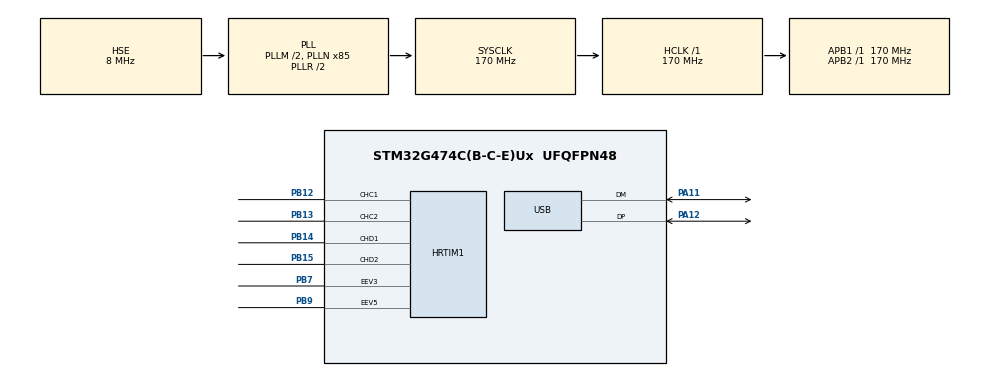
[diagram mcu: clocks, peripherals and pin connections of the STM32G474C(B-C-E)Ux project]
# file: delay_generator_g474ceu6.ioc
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HRTIM1.CompareUnit1-Output_TC1TC2=HRTIM_COMPAREUNIT_1
HRTIM1.CompareUnit1-Output_TD1TD2=HRTIM_COMPAREUNIT_1
HRTIM1.CompareUnit2-Output_TC1TC2=HRTIM_COMPAREUNIT_2
HRTIM1.CompareUnit2-Output_TD1TD2=HRTIM_COMPAREUNIT_2
HRTIM1.CompareUnit3-Output_TC1TC2=HRTIM_COMPAREUNIT_3
HRTIM1.CompareUnit3-Output_TD1TD2=HRTIM_COMPAREUNIT_3
HRTIM1.CompareUnit4-Output_TC1TC2=HRTIM_COMPAREUNIT_4
HRTIM1.CompareUnit4-Output_TD1TD2=HRTIM_COMPAREUNIT_4
HRTIM1.CompareValue1-Output_TC1TC2=2720
HRTIM1.CompareValue1-Output_TD1TD2=5440
HRTIM1.CompareValue2-Output_TC1TC2=5440
HRTIM1.CompareValue2-Output_TD1TD2=8160
HRTIM1.CompareValue3-Output_TC1TC2=8160
HRTIM1.CompareValue3-Output_TD1TD2=13600
HRTIM1.CompareValue4-Output_TC1TC2=10880
HRTIM1.CompareValue4-Output_TD1TD2=16320
HRTIM1.Event_EEV1=__NULL
HRTIM1.Event_EEV3=HRTIM_EVENT_3
HRTIM1.ModeTimeBase-Output_TC1TC2=HRTIM_MODE_SINGLESHOT_RETRIGGERABLE
HRTIM1.ModeTimeBase-Output_TD1TD2=HRTIM_MODE_SINGLESHOT_RETRIGGERABLE
HRTIM1.NumberResetSource1-Output_TC1TC2=1
HRTIM1.NumberResetSource1-Output_TD1TD2=1
HRTIM1.NumberResetSource2_TC=1
HRTIM1.NumberResetSource2_TD=1
HRTIM1.NumberResetTrigger-Output_TC1TC2=1
HRTIM1.NumberResetTrigger-Output_TD1TD2=1
HRTIM1.NumberSetSource1-Output_TC1TC2=1
HRTIM1.NumberSetSource1-Output_TD1TD2=1
HRTIM1.NumberSetSource2_TC=1
HRTIM1.NumberSetSource2_TD=1
HRTIM1.Periode_TC=11424
HRTIM1.Periode_TD=16864
HRTIM1.ResetOutput1_Source1-Output_TC1TC2=HRTIM_OUTPUTRESET_TIMCMP2
HRTIM1.ResetOutput1_Source1-Output_TD1TD2=HRTIM_OUTPUTRESET_TIMCMP2
HRTIM1.ResetOutput2_Source1-Output_TC1TC2=HRTIM_OUTPUTRESET_TIMCMP4
HRTIM1.ResetOutput2_Source1-Output_TD1TD2=HRTIM_OUTPUTRESET_TIMCMP4
HRTIM1.ResetTrigger1-Output_TC1TC2=HRTIM_TIMRESETTRIGGER_EEV_3
HRTIM1.ResetTrigger1-Output_TD1TD2=HRTIM_TIMRESETTRIGGER_EEV_5
HRTIM1.Sensitivity_EEV3=HRTIM_EVENTSENSITIVITY_RISINGEDGE
HRTIM1.Sensitivity_EEV5=HRTIM_EVENTSENSITIVITY_RISINGEDGE
HRTIM1.SetOutput1_Source1-Output_TC1TC2=HRTIM_OUTPUTSET_TIMCMP1
HRTIM1.SetOutput1_Source1-Output_TD1TD2=HRTIM_OUTPUTSET_TIMCMP1
HRTIM1.SetOutput2_Source1-Output_TC1TC2=HRTIM_OUTPUTSET_TIMCMP3
HRTIM1.SetOutput2_Source1-Output_TD1TD2=HRTIM_OUTPUTSET_TIMCMP3
Mcu.Family=STM32G4
Mcu.Name=STM32G474C(B-C-E)Ux
Mcu.Package=UFQFPN48
NVIC.PriorityGroup=NVIC_PRIORITYGROUP_4
NVIC.USB_LP_IRQn=true\:0\:0\:false\:false\:true\:false\:true\:true
PA11.Mode=Device
PA11.Signal=USB_DM
PA12.Mode=Device
PA12.Signal=USB_DP
PA13.Mode=Serial_Wire
PA13.Signal=SYS_JTMS-SWDIO
PA14.Mode=Serial_Wire
PA14.Signal=SYS_JTCK-SWCLK
PB12.Mode=Output_TC1TC2
PB12.Signal=HRTIM1_CHC1
PB13.Mode=Output_TC1TC2
PB13.Signal=HRTIM1_CHC2
PB14.Mode=Output_TD1TD2
PB14.Signal=HRTIM1_CHD1
PB15.Mode=Output_TD1TD2
PB15.Signal=HRTIM1_CHD2
PB7.Mode=External_Evt_enable13
PB7.Signal=HRTIM1_EEV3
PB9.GPIO_PuPd=GPIO_PULLDOWN
PB9.Mode=External_Evt_enable5
PB9.Signal=HRTIM1_EEV5
PF0-OSC_IN.Mode=HSE-External-Oscillator
PF0-OSC_IN.Signal=RCC_OSC_IN
PF1-OSC_OUT.Mode=HSE-External-Oscillator
PF1-OSC_OUT.Signal=RCC_OSC_OUT
ProjectManager.HeapSize=0x200
ProjectManager.StackSize=0x400
ProjectManager.TargetToolchain=STM32CubeIDE
RCC.ADC12Freq_Value=170000000
RCC.ADC345Freq_Value=170000000
RCC.AHBFreq_Value=170000000
RCC.APB1Freq_Value=170000000
RCC.APB1TimFreq_Value=170000000
RCC.APB2Freq_Value=170000000
RCC.APB2TimFreq_Value=170000000
RCC.CK48CLockSelection=RCC_USBCLKSOURCE_HSI48
RCC.CortexFreq_Value=170000000
RCC.EXTERNAL_CLOCK_VALUE=12288000
RCC.HCLKFreq_Value=170000000
RCC.HSE_VALUE=8000000
RCC.HSI48_VALUE=48000000
RCC.HSI_VALUE=16000000
RCC.LSE_VALUE=32768
RCC.PLLM=RCC_PLLM_DIV2
RCC.PLLN=85
RCC.PLLSourceVirtual=RCC_PLLSOURCE_HSE
RCC.SYSCLKFreq_VALUE=170000000
RCC.SYSCLKSource=RCC_SYSCLKSOURCE_PLLCLK
RCC.USBFreq_Value=48000000
RCC.VCOOutputFreq_Value=340000000
USB_DEVICE.CLASS_NAME_FS=CDC
USB_DEVICE.USBD_LPM_ENABLED=0
USB_DEVICE.USBD_SELF_POWERED=0
USB_DEVICE.VirtualMode=Cdc
USB_DEVICE.VirtualModeFS=Cdc_FS
VP_RCC_VS_USB.Mode=USB_FS
VP_SYS_VS_DBSignals.Mode=DisableDeadBatterySignals
VP_USB_DEVICE_VS_USB_DEVICE_CDC_FS.Mode=CDC_FS
board=custom

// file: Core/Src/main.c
/* USER CODE BEGIN Header */
/**
  ******************************************************************************
  * @file           : main.c
  * @brief          : Main program body
  ******************************************************************************
  * @attention
  *
  * Copyright (c) 2026 STMicroelectronics.
  * All rights reserved.
  *
  * This software is licensed under terms that can be found in the LICENSE file
  * in the root directory of this software component.
  * If no LICENSE file comes with this software, it is provided AS-IS.
  *
  ******************************************************************************
  */
/* USER CODE END Header */
#include "main.h"
#include "usb_device.h"

/* USER CODE BEGIN Includes */

#include "autonomous_sweep.h"

/* USER CODE END Includes */

/* USER CODE BEGIN PTD */

typedef struct
{
  uint32_t channel1_delay_ticks;
  uint32_t channel1_width_ticks;
  uint32_t channel2_delay_ticks;
  uint32_t channel2_width_ticks;
} PulseTimerTimingTicks;

typedef enum
{
  PULSE_AUTONOMOUS_IDLE = 0,
  PULSE_AUTONOMOUS_RUNNING,
  PULSE_AUTONOMOUS_TRANSITION,
  PULSE_AUTONOMOUS_DONE
} PulseAutonomousState;

/* USER CODE END PTD */

/* USER CODE BEGIN PD */

#define HRTIM_MIN_COMPARE_TICKS       96U
#define HRTIM_MIN_PULSE_TICKS         96U
#define HRTIM_MAX_TICKS               0xFFDFU
#define PULSE_PERIOD_GUARD_TICKS      96U
/* The input-to-output jitter run uses the shortest compare value accepted by
 * this firmware.  Keep the Fast EEV5 path enabled, but do not add an
 * unverified 11-clock guard to the programmed delay. */
#define PULSE_TEST_BASE_DELAY_TICKS   HRTIM_MIN_COMPARE_TICKS
#define PULSE_IN1_PIN                 GPIO_PIN_9
#define PULSE_IN2_PIN                 GPIO_PIN_7
#define PULSE_OUT1_PIN                GPIO_PIN_13
#define PULSE_OUT2_PIN                GPIO_PIN_12
#define PULSE_OUT3_PIN                GPIO_PIN_14
#define PULSE_OUT4_PIN                GPIO_PIN_15
#define PULSE_OUTPUT_PINS             (PULSE_OUT1_PIN | PULSE_OUT2_PIN | \
                                       PULSE_OUT3_PIN | PULSE_OUT4_PIN)
#define PULSE_TEST_WIDTH_TICKS        109U
#define PULSE_INPUT_PATH_DIAGNOSTIC   0U

/* Continuous-input plans explicitly provide a guard count. Older burst
 * plans omit it and advance after the input has been idle for 300 ms. */
#define PULSE_BURST_IDLE_GAP_MS       300U

_Static_assert(AUTONOMOUS_SWEEP_STEP_COUNT > 0U,
               "Autonomous sweep must contain at least one step");
_Static_assert(AUTONOMOUS_SWEEP_PULSES_PER_STEP > 0U,
               "Autonomous sweep pulse count must be positive");
#ifdef AUTONOMOUS_SWEEP_TRANSITION_GUARD_PULSES
_Static_assert(AUTONOMOUS_SWEEP_TRANSITION_GUARD_PULSES > 0U,
               "Autonomous sweep transition guard must be positive");
#endif

/* USER CODE END PD */

HRTIM_HandleTypeDef hhrtim1;

/* USER CODE BEGIN PV */

/* J3 IN2 (PB7/EEV3) -> Timer C: TC1=OUT2, TC2=OUT1. */
static const PulseTimerTimingTicks timer_c_timing_ticks =
{
  .channel1_delay_ticks = 5440U,
  .channel1_width_ticks = 2720U,
  .channel2_delay_ticks = 13600U,
  .channel2_width_ticks = 2720U
};

/* J6 IN1 (PB9/EEV5) -> Timer D: TD1=OUT3, TD2=OUT4. */
static PulseTimerTimingTicks timer_d_timing_ticks;
static volatile PulseAutonomousState pulse_autonomous_state =
    PULSE_AUTONOMOUS_IDLE;
static volatile uint32_t pulse_autonomous_step_index = 0U;
static volatile uint32_t pulse_autonomous_input_count = 0U;
#ifndef AUTONOMOUS_SWEEP_TRANSITION_GUARD_PULSES
static volatile uint32_t pulse_autonomous_last_input_tick = 0U;
static volatile uint8_t pulse_autonomous_burst_active = 0U;
#endif

/* USER CODE END PV */

void SystemClock_Config(void);
static void MX_GPIO_Init(void);
static void MX_HRTIM1_Init(void);
/* USER CODE BEGIN PFP */

#if PULSE_INPUT_PATH_DIAGNOSTIC
static void PulseGenerator_RunInputPathDiagnostic(void);
#endif
static HAL_StatusTypeDef PulseGenerator_ConfigureTimer(
    uint32_t timer_index,
    const PulseTimerTimingTicks *timing_ticks);
static HAL_StatusTypeDef PulseGenerator_PsToTicks(
    int32_t delay_ps,
    int32_t *signed_ticks);
static HAL_StatusTypeDef PulseGenerator_BuildSignedTiming(
    int32_t signed_ticks,
    PulseTimerTimingTicks *timing_ticks);
static HAL_StatusTypeDef PulseGenerator_SetIn1DelayPs(
    int32_t signed_delay_ps);
static HAL_StatusTypeDef PulseGenerator_UpdateIn1DelayPs(
    int32_t signed_delay_ps);
static HAL_StatusTypeDef PulseGenerator_ApplyTiming(void);
static HAL_StatusTypeDef PulseGenerator_StartTimerD(void);
static HAL_StatusTypeDef PulseGenerator_StopTimerD(void);
static void PulseAutonomous_Reset(void);
static void PulseAutonomous_EnableInputInterrupt(void);
static void PulseAutonomous_Process(void);

/* USER CODE END PFP */

/* USER CODE BEGIN 0 */

#if PULSE_INPUT_PATH_DIAGNOSTIC
static void PulseGenerator_RunInputPathDiagnostic(void)
{
  GPIO_InitTypeDef gpio_init = {0};
  const uint32_t output_mask = PULSE_OUTPUT_PINS;

  __HAL_RCC_GPIOB_CLK_ENABLE();

  gpio_init.Pin = PULSE_IN1_PIN | PULSE_IN2_PIN;
  gpio_init.Mode = GPIO_MODE_INPUT;
  gpio_init.Pull = GPIO_PULLDOWN;
  HAL_GPIO_Init(GPIOB, &gpio_init);

  gpio_init.Pin = output_mask;
  gpio_init.Mode = GPIO_MODE_OUTPUT_PP;
  gpio_init.Pull = GPIO_NOPULL;
  gpio_init.Speed = GPIO_SPEED_FREQ_LOW;
  HAL_GPIO_Init(GPIOB, &gpio_init);
  HAL_GPIO_WritePin(GPIOB, output_mask, GPIO_PIN_RESET);

  while (1)
  {
    uint32_t input_state = GPIOB->IDR;
    uint32_t high_mask = 0U;

    if ((input_state & PULSE_IN1_PIN) != 0U)
    {
      high_mask |= PULSE_OUT3_PIN | PULSE_OUT4_PIN;
    }
    if ((input_state & PULSE_IN2_PIN) != 0U)
    {
      high_mask |= PULSE_OUT1_PIN | PULSE_OUT2_PIN;
    }

    GPIOB->BSRR = high_mask |
                  ((output_mask & ~high_mask) << GPIO_BSRR_BR0_Pos);
  }
}
#endif

static HAL_StatusTypeDef PulseGenerator_PsToTicks(
    int32_t delay_ps,
    int32_t *signed_ticks)
{
  int64_t delay_ps_64 = delay_ps;
  uint64_t magnitude_ps;
  uint64_t magnitude_ticks;

  if (signed_ticks == NULL)
  {
    return HAL_ERROR;
  }

  magnitude_ps = (delay_ps_64 < 0)
                 ? (uint64_t)(-delay_ps_64)
                 : (uint64_t)delay_ps_64;
  magnitude_ticks = ((magnitude_ps * 544ULL) + 50000ULL) / 100000ULL;

  if (magnitude_ticks > INT32_MAX)
  {
    return HAL_ERROR;
  }

  *signed_ticks = (delay_ps_64 < 0)
                  ? -(int32_t)magnitude_ticks
                  : (int32_t)magnitude_ticks;
  return HAL_OK;
}

static HAL_StatusTypeDef PulseGenerator_BuildSignedTiming(
    int32_t signed_ticks,
    PulseTimerTimingTicks *timing_ticks)
{
  int64_t signed_ticks_64 = signed_ticks;
  uint64_t magnitude_ticks;
  uint32_t offset_ticks;

  if (timing_ticks == NULL)
  {
    return HAL_ERROR;
  }

  magnitude_ticks = (signed_ticks_64 < 0)
                    ? (uint64_t)(-signed_ticks_64)
                    : (uint64_t)signed_ticks_64;
  if (magnitude_ticks > UINT32_MAX)
  {
    return HAL_ERROR;
  }

  offset_ticks = (uint32_t)magnitude_ticks;
  timing_ticks->channel1_delay_ticks = PULSE_TEST_BASE_DELAY_TICKS;
  timing_ticks->channel1_width_ticks = PULSE_TEST_WIDTH_TICKS;
  timing_ticks->channel2_delay_ticks = PULSE_TEST_BASE_DELAY_TICKS;
  timing_ticks->channel2_width_ticks = PULSE_TEST_WIDTH_TICKS;

  if (signed_ticks >= 0)
  {
    timing_ticks->channel2_delay_ticks += offset_ticks;
  }
  else
  {
    timing_ticks->channel1_delay_ticks += offset_ticks;
  }

  return HAL_OK;
}

static HAL_StatusTypeDef PulseGenerator_ConfigureTimer(
    uint32_t timer_index,
    const PulseTimerTimingTicks *timing_ticks)
{
  HRTIM_TimeBaseCfgTypeDef time_base_cfg = {0};
  HRTIM_CompareCfgTypeDef compare_cfg = {0};
  uint32_t compare_units[4] =
  {
    HRTIM_COMPAREUNIT_1,
    HRTIM_COMPAREUNIT_2,
    HRTIM_COMPAREUNIT_3,
    HRTIM_COMPAREUNIT_4
  };
  uint32_t compare_ticks[4];
  uint64_t channel1_end_ticks;
  uint64_t channel2_end_ticks;
  uint64_t period_ticks_64;
  uint32_t period_ticks;
  uint32_t index;

  if ((timing_ticks == NULL) ||
      (timing_ticks->channel1_delay_ticks < HRTIM_MIN_COMPARE_TICKS) ||
      (timing_ticks->channel1_width_ticks < HRTIM_MIN_PULSE_TICKS) ||
      (timing_ticks->channel2_delay_ticks < HRTIM_MIN_COMPARE_TICKS) ||
      (timing_ticks->channel2_width_ticks < HRTIM_MIN_PULSE_TICKS))
  {
    return HAL_ERROR;
  }

  channel1_end_ticks = (uint64_t)timing_ticks->channel1_delay_ticks
                       + timing_ticks->channel1_width_ticks;
  channel2_end_ticks = (uint64_t)timing_ticks->channel2_delay_ticks
                       + timing_ticks->channel2_width_ticks;
  period_ticks_64 = ((channel1_end_ticks > channel2_end_ticks)
                     ? channel1_end_ticks : channel2_end_ticks)
                    + PULSE_PERIOD_GUARD_TICKS;

  if ((channel1_end_ticks > HRTIM_MAX_TICKS) ||
      (channel2_end_ticks > HRTIM_MAX_TICKS) ||
      (period_ticks_64 > HRTIM_MAX_TICKS))
  {
    return HAL_ERROR;
  }

  compare_ticks[0] = timing_ticks->channel1_delay_ticks;
  compare_ticks[1] = (uint32_t)channel1_end_ticks;
  compare_ticks[2] = timing_ticks->channel2_delay_ticks;
  compare_ticks[3] = (uint32_t)channel2_end_ticks;
  period_ticks = (uint32_t)period_ticks_64;

  if ((compare_ticks[1] <= compare_ticks[0]) ||
      (compare_ticks[3] <= compare_ticks[2]) ||
      (period_ticks <= compare_ticks[1]) ||
      (period_ticks <= compare_ticks[3]) ||
      (period_ticks > HRTIM_MAX_TICKS))
  {
    return HAL_ERROR;
  }

  time_base_cfg.Period = period_ticks;
  time_base_cfg.RepetitionCounter = 0x00;
  time_base_cfg.PrescalerRatio = HRTIM_PRESCALERRATIO_MUL32;
  time_base_cfg.Mode = HRTIM_MODE_SINGLESHOT_RETRIGGERABLE;

  if (HAL_HRTIM_TimeBaseConfig(&hhrtim1, timer_index,
                               &time_base_cfg) != HAL_OK)
  {
    return HAL_ERROR;
  }

  compare_cfg.AutoDelayedMode = HRTIM_AUTODELAYEDMODE_REGULAR;
  compare_cfg.AutoDelayedTimeout = 0x0000;

  for (index = 0U; index < 4U; index++)
  {
    compare_cfg.CompareValue = compare_ticks[index];
    if (HAL_HRTIM_WaveformCompareConfig(&hhrtim1, timer_index,
                                        compare_units[index],
                                        &compare_cfg) != HAL_OK)
    {
      return HAL_ERROR;
    }
  }

  return HAL_OK;
}

static HAL_StatusTypeDef PulseGenerator_SetIn1DelayPs(
    int32_t signed_delay_ps)
{
  int32_t signed_ticks;

  if (PulseGenerator_PsToTicks(signed_delay_ps, &signed_ticks) != HAL_OK)
  {
    return HAL_ERROR;
  }

  if (PulseGenerator_BuildSignedTiming(signed_ticks,
                                       &timer_d_timing_ticks) != HAL_OK)
  {
    return HAL_ERROR;
  }

  if (PulseGenerator_ConfigureTimer(HRTIM_TIMERINDEX_TIMER_D,
                                    &timer_d_timing_ticks) != HAL_OK)
  {
    return HAL_ERROR;
  }

  return HAL_OK;
}

static HAL_StatusTypeDef PulseGenerator_UpdateIn1DelayPs(
    int32_t signed_delay_ps)
{
  return PulseGenerator_SetIn1DelayPs(signed_delay_ps);
}

static HAL_StatusTypeDef PulseGenerator_StartTimerD(void)
{
  if (HAL_HRTIM_WaveformOutputStart(&hhrtim1,
                                    HRTIM_OUTPUT_TD1 |
                                    HRTIM_OUTPUT_TD2) != HAL_OK)
  {
    return HAL_ERROR;
  }

  if (HAL_HRTIM_WaveformCountStart(&hhrtim1,
                                   HRTIM_TIMERID_TIMER_D) != HAL_OK)
  {
    return HAL_ERROR;
  }

  return HAL_OK;
}

static HAL_StatusTypeDef PulseGenerator_StopTimerD(void)
{
  if (HAL_HRTIM_WaveformOutputStop(&hhrtim1,
                                   HRTIM_OUTPUT_TD1 |
                                   HRTIM_OUTPUT_TD2) != HAL_OK)
  {
    return HAL_ERROR;
  }

  if (HAL_HRTIM_WaveformCountStop(&hhrtim1,
                                  HRTIM_TIMERID_TIMER_D) != HAL_OK)
  {
    return HAL_ERROR;
  }

  return HAL_OK;
}

static HAL_StatusTypeDef PulseGenerator_ApplyTiming(void)
{
  if (PulseGenerator_ConfigureTimer(HRTIM_TIMERINDEX_TIMER_C,
                                    &timer_c_timing_ticks) != HAL_OK)
  {
    return HAL_ERROR;
  }

  if (PulseGenerator_SetIn1DelayPs(autonomous_sweep_delay_ps[0]) != HAL_OK)
  {
    return HAL_ERROR;
  }

  return HAL_OK;
}

static void PulseAutonomous_Reset(void)
{
  pulse_autonomous_step_index = 0U;
  pulse_autonomous_input_count = 0U;
#ifndef AUTONOMOUS_SWEEP_TRANSITION_GUARD_PULSES
  pulse_autonomous_last_input_tick = 0U;
  pulse_autonomous_burst_active = 0U;
#endif
  pulse_autonomous_state = PULSE_AUTONOMOUS_RUNNING;
}

static void PulseAutonomous_EnableInputInterrupt(void)
{
  __HAL_RCC_SYSCFG_CLK_ENABLE();
  MODIFY_REG(SYSCFG->EXTICR[2],
             SYSCFG_EXTICR3_EXTI9,
             SYSCFG_EXTICR3_EXTI9_PB);
  CLEAR_BIT(EXTI->FTSR1, EXTI_FTSR1_FT9);
  SET_BIT(EXTI->RTSR1, EXTI_RTSR1_RT9);
  WRITE_REG(EXTI->PR1, EXTI_PR1_PIF9);
  SET_BIT(EXTI->IMR1, EXTI_IMR1_IM9);
  HAL_NVIC_SetPriority(EXTI9_5_IRQn, 1U, 0U);
  HAL_NVIC_EnableIRQ(EXTI9_5_IRQn);
}

static void PulseAutonomous_Process(void)
{
  uint32_t next_step;

#ifndef AUTONOMOUS_SWEEP_TRANSITION_GUARD_PULSES
  if ((pulse_autonomous_state == PULSE_AUTONOMOUS_RUNNING) &&
      (pulse_autonomous_burst_active != 0U))
  {
    if ((uint32_t)(HAL_GetTick() - pulse_autonomous_last_input_tick) <
        PULSE_BURST_IDLE_GAP_MS)
    {
      return;
    }
    pulse_autonomous_burst_active = 0U;
    pulse_autonomous_state = PULSE_AUTONOMOUS_TRANSITION;
  }
#endif

  if (pulse_autonomous_state != PULSE_AUTONOMOUS_TRANSITION)
  {
    return;
  }

  next_step = pulse_autonomous_step_index + 1U;
  if (next_step >= AUTONOMOUS_SWEEP_STEP_COUNT)
  {
    if (PulseGenerator_StopTimerD() != HAL_OK)
    {
      Error_Handler();
    }

    pulse_autonomous_state = PULSE_AUTONOMOUS_DONE;
    return;
  }

  if (PulseGenerator_UpdateIn1DelayPs(
          autonomous_sweep_delay_ps[next_step]) != HAL_OK)
  {
    Error_Handler();
  }

  pulse_autonomous_step_index = next_step;
  pulse_autonomous_input_count = 0U;
  pulse_autonomous_state = PULSE_AUTONOMOUS_RUNNING;
}

void EXTI9_5_IRQHandler(void)
{
  if (READ_BIT(EXTI->PR1, EXTI_PR1_PIF9) == 0U)
  {
    return;
  }

  WRITE_REG(EXTI->PR1, EXTI_PR1_PIF9);
  if (pulse_autonomous_state != PULSE_AUTONOMOUS_RUNNING)
  {
    return;
  }

  /* The timer output for this edge is already scheduled by HRTIM.  Defer
   * compare-register updates to the main loop so this last captured edge
   * remains part of the current step.  The following guard edges give the
   * scope automation time to finish/export statistics before the transition.
   */
#ifdef AUTONOMOUS_SWEEP_TRANSITION_GUARD_PULSES
  pulse_autonomous_input_count++;
  if (pulse_autonomous_input_count >=
      (AUTONOMOUS_SWEEP_PULSES_PER_STEP +
       AUTONOMOUS_SWEEP_TRANSITION_GUARD_PULSES))
  {
    pulse_autonomous_state = PULSE_AUTONOMOUS_TRANSITION;
  }
#else
  pulse_autonomous_last_input_tick = HAL_GetTick();
  pulse_autonomous_burst_active = 1U;
#endif
}

/* USER CODE END 0 */

int main(void)
{

  /* MCU Configuration--------------------------------------------------------*/

  /* Reset of all peripherals, Initializes the Flash interface and the Systick. */
  HAL_Init();

  /* USER CODE BEGIN Init */

#if PULSE_INPUT_PATH_DIAGNOSTIC
  PulseGenerator_RunInputPathDiagnostic();
#endif

  /* USER CODE END Init */

  /* Configure the system clock */
  SystemClock_Config();

  /* Initialize all configured peripherals */
  MX_GPIO_Init();
  MX_HRTIM1_Init();
  MX_USB_Device_Init();
  /* USER CODE BEGIN 2 */

  if (PulseGenerator_ApplyTiming() != HAL_OK)
  {
    Error_Handler();
  }

  PulseAutonomous_Reset();
  PulseAutonomous_EnableInputInterrupt();

  if (HAL_HRTIM_WaveformOutputStart(&hhrtim1,
                                    HRTIM_OUTPUT_TC1 |
                                    HRTIM_OUTPUT_TC2) != HAL_OK)
  {
    Error_Handler();
  }

  if (HAL_HRTIM_WaveformCountStart(&hhrtim1,
                                   HRTIM_TIMERID_TIMER_C) != HAL_OK)
  {
    Error_Handler();
  }

  if (PulseGenerator_StartTimerD() != HAL_OK)
  {
    Error_Handler();
  }

  /* USER CODE END 2 */

  /* Infinite loop */
  while (1)
  {

    /* USER CODE BEGIN 3 */
    PulseAutonomous_Process();
  }
  /* USER CODE END 3 */
}

void SystemClock_Config(void)
{
  RCC_OscInitTypeDef RCC_OscInitStruct = {0};
  RCC_ClkInitTypeDef RCC_ClkInitStruct = {0};
  RCC_CRSInitTypeDef pInit = {0};

  /** Configure the main internal regulator output voltage
  */
  HAL_PWREx_ControlVoltageScaling(PWR_REGULATOR_VOLTAGE_SCALE1_BOOST);

  /** Initializes the RCC Oscillators according to the specified parameters
  * in the RCC_OscInitTypeDef structure.
  */
  RCC_OscInitStruct.OscillatorType = RCC_OSCILLATORTYPE_HSI48|RCC_OSCILLATORTYPE_HSE;
  RCC_OscInitStruct.HSEState = RCC_HSE_ON;
  RCC_OscInitStruct.HSI48State = RCC_HSI48_ON;
  RCC_OscInitStruct.PLL.PLLState = RCC_PLL_ON;
  RCC_OscInitStruct.PLL.PLLSource = RCC_PLLSOURCE_HSE;
  RCC_OscInitStruct.PLL.PLLM = RCC_PLLM_DIV2;
  RCC_OscInitStruct.PLL.PLLN = 85;
  RCC_OscInitStruct.PLL.PLLP = RCC_PLLP_DIV2;
  RCC_OscInitStruct.PLL.PLLQ = RCC_PLLQ_DIV2;
  RCC_OscInitStruct.PLL.PLLR = RCC_PLLR_DIV2;
  if (HAL_RCC_OscConfig(&RCC_OscInitStruct) != HAL_OK)
  {
    Error_Handler();
  }

  /** Initializes the CPU, AHB and APB buses clocks
  */
  RCC_ClkInitStruct.ClockType = RCC_CLOCKTYPE_HCLK|RCC_CLOCKTYPE_SYSCLK
                              |RCC_CLOCKTYPE_PCLK1|RCC_CLOCKTYPE_PCLK2;
  RCC_ClkInitStruct.SYSCLKSource = RCC_SYSCLKSOURCE_PLLCLK;
  RCC_ClkInitStruct.AHBCLKDivider = RCC_SYSCLK_DIV1;
  RCC_ClkInitStruct.APB1CLKDivider = RCC_HCLK_DIV1;
  RCC_ClkInitStruct.APB2CLKDivider = RCC_HCLK_DIV1;

  if (HAL_RCC_ClockConfig(&RCC_ClkInitStruct, FLASH_LATENCY_4) != HAL_OK)
  {
    Error_Handler();
  }

  /** Enable the SYSCFG APB clock
  */
  __HAL_RCC_CRS_CLK_ENABLE();

  /** Configures CRS
  */
  pInit.Prescaler = RCC_CRS_SYNC_DIV1;
  pInit.Source = RCC_CRS_SYNC_SOURCE_USB;
  pInit.Polarity = RCC_CRS_SYNC_POLARITY_RISING;
  pInit.ReloadValue = __HAL_RCC_CRS_RELOADVALUE_CALCULATE(48000000,1000);
  pInit.ErrorLimitValue = 34;
  pInit.HSI48CalibrationValue = 32;

  HAL_RCCEx_CRSConfig(&pInit);
}

static void MX_HRTIM1_Init(void)
{

  HRTIM_EventCfgTypeDef pEventCfg = {0};
  HRTIM_TimeBaseCfgTypeDef pTimeBaseCfg = {0};
  HRTIM_TimerCtlTypeDef pTimerCtl = {0};
  HRTIM_TimerCfgTypeDef pTimerCfg = {0};
  HRTIM_CompareCfgTypeDef pCompareCfg = {0};
  HRTIM_OutputCfgTypeDef pOutputCfg = {0};

  hhrtim1.Instance = HRTIM1;
  hhrtim1.Init.HRTIMInterruptResquests = HRTIM_IT_NONE;
  hhrtim1.Init.SyncOptions = HRTIM_SYNCOPTION_NONE;
  if (HAL_HRTIM_Init(&hhrtim1) != HAL_OK)
  {
    Error_Handler();
  }
  if (HAL_HRTIM_DLLCalibrationStart(&hhrtim1, HRTIM_CALIBRATIONRATE_3) != HAL_OK)
  {
    Error_Handler();
  }
  if (HAL_HRTIM_PollForDLLCalibration(&hhrtim1, 10) != HAL_OK)
  {
    Error_Handler();
  }
  if (HAL_HRTIM_EventPrescalerConfig(&hhrtim1, HRTIM_EVENTPRESCALER_DIV1) != HAL_OK)
  {
    Error_Handler();
  }
  pEventCfg.Source = HRTIM_EEV3SRC_GPIO;
  pEventCfg.Polarity = HRTIM_EVENTPOLARITY_HIGH;
  pEventCfg.Sensitivity = HRTIM_EVENTSENSITIVITY_RISINGEDGE;
  pEventCfg.FastMode = HRTIM_EVENTFASTMODE_DISABLE;
  if (HAL_HRTIM_EventConfig(&hhrtim1, HRTIM_EVENT_3, &pEventCfg) != HAL_OK)
  {
    Error_Handler();
  }
  pEventCfg.Source = HRTIM_EEV5SRC_GPIO;
  /* EEV5 is the timing-critical IN1 path. Enable HRTIM low-latency handling
   * while retaining CMP1/CMP3 rising-edge timing control for Timer D.
   * FastMode requires LEVEL sensitivity; the high-polarity reset then starts
   * on the input rising edge. */
  pEventCfg.Sensitivity = HRTIM_EVENTSENSITIVITY_LEVEL;
  pEventCfg.FastMode = HRTIM_EVENTFASTMODE_ENABLE;
  if (HAL_HRTIM_EventConfig(&hhrtim1, HRTIM_EVENT_5, &pEventCfg) != HAL_OK)
  {
    Error_Handler();
  }
  pTimeBaseCfg.Period = 11424;
  pTimeBaseCfg.RepetitionCounter = 0x00;
  pTimeBaseCfg.PrescalerRatio = HRTIM_PRESCALERRATIO_MUL32;
  pTimeBaseCfg.Mode = HRTIM_MODE_SINGLESHOT_RETRIGGERABLE;
  if (HAL_HRTIM_TimeBaseConfig(&hhrtim1, HRTIM_TIMERINDEX_TIMER_C, &pTimeBaseCfg) != HAL_OK)
  {
    Error_Handler();
  }
  pTimerCtl.UpDownMode = HRTIM_TIMERUPDOWNMODE_UP;
  pTimerCtl.TrigHalf = HRTIM_TIMERTRIGHALF_DISABLED;
  pTimerCtl.GreaterCMP3 = HRTIM_TIMERGTCMP3_EQUAL;
  pTimerCtl.GreaterCMP1 = HRTIM_TIMERGTCMP1_EQUAL;
  pTimerCtl.DualChannelDacEnable = HRTIM_TIMER_DCDE_DISABLED;
  if (HAL_HRTIM_WaveformTimerControl(&hhrtim1, HRTIM_TIMERINDEX_TIMER_C, &pTimerCtl) != HAL_OK)
  {
    Error_Handler();
  }
  pTimerCfg.InterruptRequests = HRTIM_TIM_IT_NONE;
  pTimerCfg.DMARequests = HRTIM_TIM_DMA_NONE;
  pTimerCfg.DMASrcAddress = 0x0000;
  pTimerCfg.DMADstAddress = 0x0000;
  pTimerCfg.DMASize = 0x1;
  pTimerCfg.HalfModeEnable = HRTIM_HALFMODE_DISABLED;
  pTimerCfg.InterleavedMode = HRTIM_INTERLEAVED_MODE_DISABLED;
  pTimerCfg.StartOnSync = HRTIM_SYNCSTART_DISABLED;
  pTimerCfg.ResetOnSync = HRTIM_SYNCRESET_DISABLED;
  pTimerCfg.DACSynchro = HRTIM_DACSYNC_NONE;
  pTimerCfg.PreloadEnable = HRTIM_PRELOAD_DISABLED;
  pTimerCfg.UpdateGating = HRTIM_UPDATEGATING_INDEPENDENT;
  pTimerCfg.BurstMode = HRTIM_TIMERBURSTMODE_MAINTAINCLOCK;
  pTimerCfg.RepetitionUpdate = HRTIM_UPDATEONREPETITION_DISABLED;
  pTimerCfg.PushPull = HRTIM_TIMPUSHPULLMODE_DISABLED;
  pTimerCfg.FaultEnable = HRTIM_TIMFAULTENABLE_NONE;
  pTimerCfg.FaultLock = HRTIM_TIMFAULTLOCK_READWRITE;
  pTimerCfg.DeadTimeInsertion = HRTIM_TIMDEADTIMEINSERTION_DISABLED;
  pTimerCfg.DelayedProtectionMode = HRTIM_TIMER_A_B_C_DELAYEDPROTECTION_DISABLED;
  pTimerCfg.UpdateTrigger = HRTIM_TIMUPDATETRIGGER_NONE;
  pTimerCfg.ResetTrigger = HRTIM_TIMRESETTRIGGER_EEV_3;
  pTimerCfg.ResetUpdate = HRTIM_TIMUPDATEONRESET_DISABLED;
  pTimerCfg.ReSyncUpdate = HRTIM_TIMERESYNC_UPDATE_UNCONDITIONAL;
  if (HAL_HRTIM_WaveformTimerConfig(&hhrtim1, HRTIM_TIMERINDEX_TIMER_C, &pTimerCfg) != HAL_OK)
  {
    Error_Handler();
  }
  pTimerCfg.DelayedProtectionMode = HRTIM_TIMER_D_E_DELAYEDPROTECTION_DISABLED;
  pTimerCfg.ResetTrigger = HRTIM_TIMRESETTRIGGER_EEV_5;
  if (HAL_HRTIM_WaveformTimerConfig(&hhrtim1, HRTIM_TIMERINDEX_TIMER_D, &pTimerCfg) != HAL_OK)
  {
    Error_Handler();
  }
  pCompareCfg.CompareValue = 2720;
  if (HAL_HRTIM_WaveformCompareConfig(&hhrtim1, HRTIM_TIMERINDEX_TIMER_C, HRTIM_COMPAREUNIT_1, &pCompareCfg) != HAL_OK)
  {
    Error_Handler();
  }
  pCompareCfg.CompareValue = 5440;
  pCompareCfg.AutoDelayedMode = HRTIM_AUTODELAYEDMODE_REGULAR;
  pCompareCfg.AutoDelayedTimeout = 0x0000;

  if (HAL_HRTIM_WaveformCompareConfig(&hhrtim1, HRTIM_TIMERINDEX_TIMER_C, HRTIM_COMPAREUNIT_2, &pCompareCfg) != HAL_OK)
  {
    Error_Handler();
  }
  pCompareCfg.CompareValue = 8160;
  if (HAL_HRTIM_WaveformCompareConfig(&hhrtim1, HRTIM_TIMERINDEX_TIMER_C, HRTIM_COMPAREUNIT_3, &pCompareCfg) != HAL_OK)
  {
    Error_Handler();
  }
  pCompareCfg.CompareValue = 10880;

  if (HAL_HRTIM_WaveformCompareConfig(&hhrtim1, HRTIM_TIMERINDEX_TIMER_C, HRTIM_COMPAREUNIT_4, &pCompareCfg) != HAL_OK)
  {
    Error_Handler();
  }
  pCompareCfg.CompareValue = 16320;

  if (HAL_HRTIM_WaveformCompareConfig(&hhrtim1, HRTIM_TIMERINDEX_TIMER_D, HRTIM_COMPAREUNIT_4, &pCompareCfg) != HAL_OK)
  {
    Error_Handler();
  }
  pOutputCfg.Polarity = HRTIM_OUTPUTPOLARITY_HIGH;
  pOutputCfg.SetSource = HRTIM_OUTPUTSET_TIMCMP1;
  pOutputCfg.ResetSource = HRTIM_OUTPUTRESET_TIMCMP2;
  pOutputCfg.IdleMode = HRTIM_OUTPUTIDLEMODE_NONE;
  pOutputCfg.IdleLevel = HRTIM_OUTPUTIDLELEVEL_INACTIVE;
  pOutputCfg.FaultLevel = HRTIM_OUTPUTFAULTLEVEL_NONE;
  pOutputCfg.ChopperModeEnable = HRTIM_OUTPUTCHOPPERMODE_DISABLED;
  pOutputCfg.BurstModeEntryDelayed = HRTIM_OUTPUTBURSTMODEENTRY_REGULAR;
  if (HAL_HRTIM_WaveformOutputConfig(&hhrtim1, HRTIM_TIMERINDEX_TIMER_C, HRTIM_OUTPUT_TC1, &pOutputCfg) != HAL_OK)
  {
    Error_Handler();
  }
  if (HAL_HRTIM_WaveformOutputConfig(&hhrtim1, HRTIM_TIMERINDEX_TIMER_D, HRTIM_OUTPUT_TD1, &pOutputCfg) != HAL_OK)
  {
    Error_Handler();
  }
  pOutputCfg.SetSource = HRTIM_OUTPUTSET_TIMCMP3;
  pOutputCfg.ResetSource = HRTIM_OUTPUTRESET_TIMCMP4;
  if (HAL_HRTIM_WaveformOutputConfig(&hhrtim1, HRTIM_TIMERINDEX_TIMER_C, HRTIM_OUTPUT_TC2, &pOutputCfg) != HAL_OK)
  {
    Error_Handler();
  }
  if (HAL_HRTIM_WaveformOutputConfig(&hhrtim1, HRTIM_TIMERINDEX_TIMER_D, HRTIM_OUTPUT_TD2, &pOutputCfg) != HAL_OK)
  {
    Error_Handler();
  }
  pTimeBaseCfg.Period = 16864;
  if (HAL_HRTIM_TimeBaseConfig(&hhrtim1, HRTIM_TIMERINDEX_TIMER_D, &pTimeBaseCfg) != HAL_OK)
  {
    Error_Handler();
  }
  if (HAL_HRTIM_WaveformTimerControl(&hhrtim1, HRTIM_TIMERINDEX_TIMER_D, &pTimerCtl) != HAL_OK)
  {
    Error_Handler();
  }
  pCompareCfg.CompareValue = 5440;
  if (HAL_HRTIM_WaveformCompareConfig(&hhrtim1, HRTIM_TIMERINDEX_TIMER_D, HRTIM_COMPAREUNIT_1, &pCompareCfg) != HAL_OK)
  {
    Error_Handler();
  }
  pCompareCfg.CompareValue = 8160;

  if (HAL_HRTIM_WaveformCompareConfig(&hhrtim1, HRTIM_TIMERINDEX_TIMER_D, HRTIM_COMPAREUNIT_2, &pCompareCfg) != HAL_OK)
  {
    Error_Handler();
  }
  pCompareCfg.CompareValue = 13600;
  if (HAL_HRTIM_WaveformCompareConfig(&hhrtim1, HRTIM_TIMERINDEX_TIMER_D, HRTIM_COMPAREUNIT_3, &pCompareCfg) != HAL_OK)
  {
    Error_Handler();
  }
  HAL_HRTIM_MspPostInit(&hhrtim1);

}

static void MX_GPIO_Init(void)
{

  /* GPIO Ports Clock Enable */
  __HAL_RCC_GPIOF_CLK_ENABLE();
  __HAL_RCC_GPIOB_CLK_ENABLE();
  __HAL_RCC_GPIOA_CLK_ENABLE();

}

void Error_Handler(void)
{
  __disable_irq();
  while (1)
  {
  }
}
